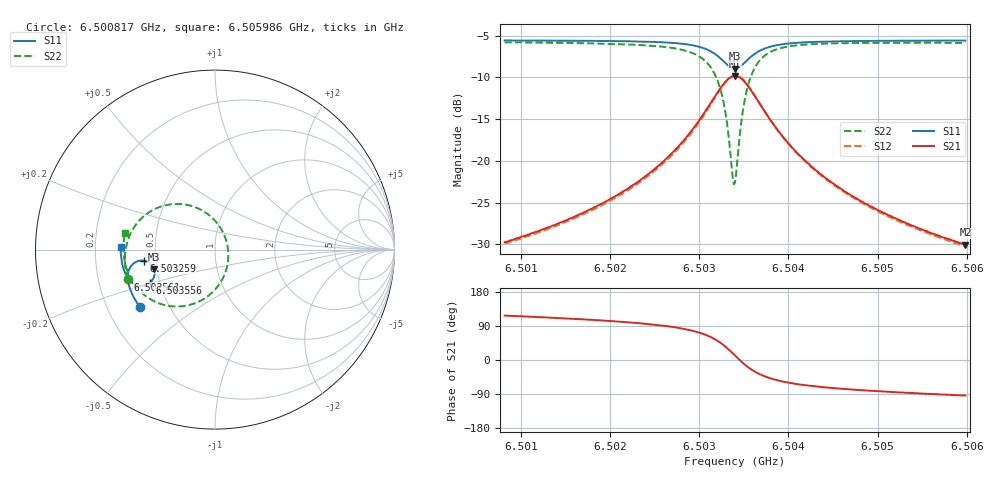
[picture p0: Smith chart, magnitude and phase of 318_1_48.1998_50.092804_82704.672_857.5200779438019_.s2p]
#  HZ  S  RI  R  50.00
! Rohde & Schwarz Vector Network Analyzer
! Rohde-Schwarz,ZNB20-2Port,1311601062101988,3.16
! Created: UTC 3/20/2024, 11:50:16 AM
! freq[Hz]  re:S11  im:S11  re:S21  im:S21  re:S12  im:S12  re:S22  im:S22
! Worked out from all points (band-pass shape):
!   401 points, 6.500817 GHz to 6.505986 GHz, reference 50 ohm
!   highest |S21| = -9.83 dB at 6.503401 GHz (marker M1); lowest = -30.0 dB at 6.505986 GHz (marker M2)
!   |S21| within 3 dB of the highest: 6.503142 GHz to 6.503659 GHz (516.7 kHz wide, 0.00794 % of centre)
!   lowest |S11| = -8.9 dB at 6.503401 GHz (marker M3), VSWR 2.11, Z = 24.2 - j6.09 ohm
!   |S11| at or under -10 dB: nowhere
!   |S22| runs from -22.8 to -5.8 dB; largest |S21 - S12| = 0.011
!   S11 on the Smith chart (normalised r, x): 6.500817 GHz: 0.34, -0.30; 6.502561 GHz: 0.33, -0.15; 6.503259 GHz: 0.43, -0.06; 6.503556 GHz: 0.44, -0.20; 6.505986 GHz: 0.31, +0.01
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6.5008168e9  -0.4202 -0.3175  -0.015 0.029  -0.0133 0.0291  -0.4858 -0.166
6.5016826e9  -0.4582 -0.2546  -0.0145 0.0463  -0.0121 0.046  -0.5011 -0.0762
6.5021866e9  -0.4763 -0.2106  -0.0115 0.0667  -0.00848 0.0656  -0.4989 -0.00594
6.5025484e9  -0.4853 -0.1712  -0.00318 0.094  0.000362 0.0919  -0.4814 0.0648
6.5025613e9  -0.4854 -0.1695  -0.00263 0.0953  0.000964 0.0932  -0.4802 0.0678
6.5028068e9  -0.4849 -0.1343  0.0153 0.1281  0.0192 0.1244  -0.4423 0.137
6.5029877e9  -0.4737 -0.1011  0.0497 0.1641  0.0528 0.1588  -0.3746 0.2031
6.5031557e9  -0.4396 -0.0682  0.1263 0.1972  0.1278 0.1908  -0.2338 0.2536
6.5032591e9  -0.3973 -0.0613  0.2108 0.1884  0.2111 0.183  -0.087 0.2262
6.5033108e9  -0.3721 -0.0697  0.2586 0.1608  0.2594 0.1561  -0.00759 0.1694
6.5033754e9  -0.3458 -0.0958  0.3057 0.098  0.308 0.093  0.063 0.0486
6.5034012e9  -0.3395 -0.11  0.3157 0.0665  0.3187 0.0606  0.0736 -0.0102
6.5034141e9  -0.3377 -0.1176  0.3182 0.0499  0.3215 0.0436  0.0742 -0.0404
6.5034917e9  -0.3437 -0.1617  0.3014 -0.0431  0.3032 -0.0529  0.0171 -0.2026
6.5035563e9  -0.3645 -0.187  0.2592 -0.0963  0.2581 -0.1071  -0.0775 -0.2836
6.5036597e9  -0.4033 -0.2016  0.1863 -0.1316  0.181 -0.1409  -0.2243 -0.3168
6.5038276e9  -0.4487 -0.1918  0.1062 -0.1288  0.0995 -0.1337  -0.3683 -0.2709
6.5040086e9  -0.4757 -0.1704  0.0628 -0.1092  0.0567 -0.1115  -0.439 -0.2072
6.504267e9  -0.4962 -0.1404  0.0333 -0.0857  0.0288 -0.086  -0.4818 -0.1359
6.5046805e9  -0.5125 -0.0982  0.0139 -0.0618  0.0108 -0.0614  -0.5045 -0.0575
6.5051328e9  -0.5211 -0.0568  0.00477 -0.0469  0.00268 -0.0462  -0.5097 0.0039
6.5059856e9  -0.5258 0.0149  -0.00216 -0.0315  -0.00335 -0.0307  -0.5014 0.0926
